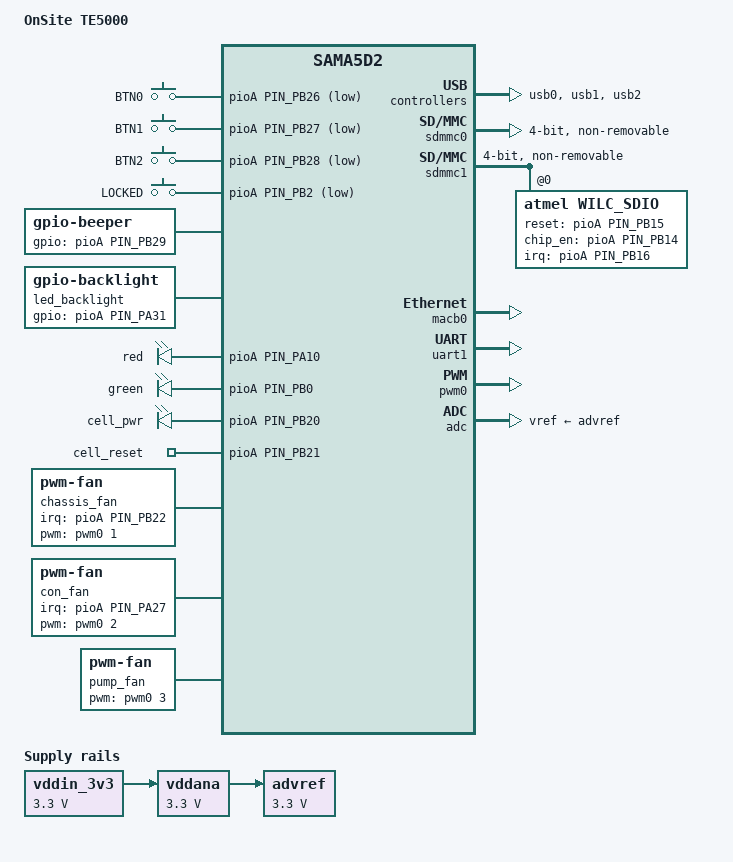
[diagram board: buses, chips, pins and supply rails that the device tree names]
// SPDX-License-Identifier: (GPL-2.0+ OR MIT)
/*
 * at91-onsite_te5000.dts - Device Tree file for OnSite TE5000 board
 *
 *  Copyright (c) 2017, Microchip Technology Inc.
 *                2016 Nicolas Ferre <nicolas.ferre@atmel.com>
 *                2017 Cristian Birsan <cristian.birsan@microchip.com>
 *                2017 Claudiu Beznea <claudiu.beznea@microchip.com>
 *                2020 Dennis Lambe Jr. <dlambe@innovative-electronics.com>
 */
/dts-v1/;
#include "at91-sama5d27_som1.dtsi"
#include <dt-bindings/mfd/atmel-flexcom.h>
#include <dt-bindings/gpio/gpio.h>
#include <dt-bindings/pinctrl/at91.h>
#include <dt-bindings/input/linux-event-codes.h>
#include <dt-bindings/pwm/pwm.h>

/ {
	model = "OnSite TE5000";
	compatible = "atmel,onsite-te5000", "atmel,sama5d27-som1", "atmel,sama5d27", "atmel,sama5d2", "atmel,sama5";

	aliases {
		serial0 = &uart1;	/* DBGU */
	};

	chosen {
		stdout-path = "serial0:115200n8";
	};

	ahb {
		usb0: gadget@300000 {
			atmel,vbus-gpio = <&pioA PIN_PD20 GPIO_ACTIVE_HIGH>;
			pinctrl-names = "default";
			pinctrl-0 = <&pinctrl_usba_vbus>;
			status = "okay";
		};

		usb1: ohci@400000 {
			num-ports = <3>;
			/* Commented out because of conflict with input buttons */
			/* atmel,vbus-gpio = <0 /\* &pioA PIN_PD20 GPIO_ACTIVE_HIGH *\/ */
			/* 		   &pioA PIN_PA27 GPIO_ACTIVE_HIGH */
			/* 		   0 */
			/* 		  >; */
			pinctrl-names = "default";
			pinctrl-0 = <&pinctrl_usb_default>;
			status = "okay";
		};

		usb2: ehci@500000 {
			status = "okay";
		};

		sdmmc0: sdio-host@a0000000 {
			bus-width = <4>;
			pinctrl-names = "default";
			pinctrl-0 = <&pinctrl_sdmmc0_default>;
			non-removable;
			disable-wp;
			no-1-8-v;
			status = "okay";
		};

		sdmmc1: sdio-host@b0000000 {
			bus-width = <4>;
			pinctrl-names = "default";
			pinctrl-0 = <&pinctrl_sdmmc1_default>;
			non-removable;
			disable-wp;
			no-1-8-v;
			status = "okay";
			max-frequency = <500000>; /* Determined experimentally */
			wilc_sdio@0{
				compatible = "atmel,wilc_sdio";
				pinctrl-names = "default";
				pinctrl-0 = <&pinctrl_wilc_default>;
				gpio_reset = <&pioA PIN_PB15 GPIO_ACTIVE_HIGH>;
				gpio_chip_en = <&pioA PIN_PB14 GPIO_ACTIVE_HIGH>;
				gpio_irq = <&pioA PIN_PB16 GPIO_ACTIVE_HIGH>;
				status = "okay";
			};
		};

		apb {
			macb0: ethernet@f8008000 {
				status = "okay";
			};

			tcb0: timer@f800c000 {
				timer0: timer@0 {
					compatible = "atmel,tcb-timer";
					reg = <0>;
				};

				timer1: timer@1 {
					compatible = "atmel,tcb-timer";
					reg = <1>;
				};
			};

			uart1: serial@f8020000 {
				pinctrl-names = "default";
				pinctrl-0 = <&pinctrl_uart1_default>;
				atmel,use-dma-rx;
				atmel,use-dma-tx;
				status = "okay";
			};

			pwm0: pwm@f802c000 {
				pinctrl-names = "default";
				pinctrl-0 = <&pinctrl_pwm0_default>;
				status = "okay";
			};

			shdwc@f8048010 {
				atmel,shdwc-debouncer = <976>;
				atmel,wakeup-rtc-timer;

				input@0 {
					reg = <0>;
					atmel,wakeup-type = "low";
				};
			};

			watchdog@f8048040 {
				status = "okay";
			};

			flx3: flexcom@fc014000 {
				atmel,flexcom-mode = <ATMEL_FLEXCOM_MODE_SPI>;
				status = "disabled";

				uart7: serial@200 {
					compatible = "atmel,at91sam9260-usart";
					reg = <0x200 0x200>;
					interrupts = <22 IRQ_TYPE_LEVEL_HIGH 7>;
					clocks = <&pmc PMC_TYPE_PERIPHERAL 22>;
					clock-names = "usart";
					pinctrl-names = "default";
					pinctrl-0 = <&pinctrl_flx3_default>;
					atmel,fifo-size = <32>;
					status = "disabled"; /* Conflict with isc. */
				};
			};

			adc: adc@fc030000 {
				vddana-supply = <&vddana>;
				vref-supply = <&advref>;
				pinctrl-names = "default";
				pinctrl-0 = <&pinctrl_an_default>;
				status = "okay";
			};

			pinctrl@fc038000 {
				pinctrl_flx3_default: flx3_default {
					pinmux = <PIN_PC20__FLEXCOM3_IO0>,
						 <PIN_PC19__FLEXCOM3_IO1>,
						 <PIN_PC21__FLEXCOM3_IO3>,
						 <PIN_PC22__FLEXCOM3_IO4>;
					bias-disable;
				};

				pinctrl_an_default: an_default {
					pinmux = <PIN_PD23__GPIO>,
						 <PIN_PD24__GPIO>;
					bias-disable;
				};

				pinctrl_key_gpio_default: key_gpio_default {
					pinmux = <PIN_PB26__GPIO>,
						 <PIN_PB27__GPIO>,
						 <PIN_PB28__GPIO>;
					bias-pull-up;
				};

				pinctrl_lock_feedback_default: lock_feedback_default {
					pinmux = <PIN_PB2__GPIO>;
					bias-disable;
				};

				pinctrl_beeper_gpio_default: beeper_gpio_default {
					pinmux = <PIN_PB29__GPIO>;
					bias-pull-up;
				};

				pinctrl_backlight_gpio_default: backlight_gpio_default {
					pinmux = <PIN_PA31__GPIO>;
					output-high;
				};

				pinctrl_led_gpio_default: led_gpio_default {
					pinmux = <PIN_PA10__GPIO>,
						 <PIN_PB0__GPIO>;
					bias-pull-up;
				};

				pinctrl_con_tach_default: con_tach_default {
					pinmux = <PIN_PA27__GPIO>;
					bias-pull-up;
				};

				pinctrl_chassis_tach_default: chassis_tach_default {
					pinmux = <PIN_PB22__GPIO>;
					bias-pull-up;
				};

				pinctrl_cell_gpio_default: cell_gpio_default {
					pinmux = <PIN_PB20__GPIO>,
						 <PIN_PB21__GPIO>;
					output-high;
				};

				pinctrl_sdmmc0_default: sdmmc0_default {
					cmd_data {
						pinmux = <PIN_PA1__SDMMC0_CMD>,
							 <PIN_PA2__SDMMC0_DAT0>,
							 <PIN_PA3__SDMMC0_DAT1>,
							 <PIN_PA4__SDMMC0_DAT2>,
							 <PIN_PA5__SDMMC0_DAT3>;
						bias-disable;
					};

					ck_cd_vddsel {
						pinmux = <PIN_PA0__SDMMC0_CK>;
						bias-disable;
					};
				};

				pinctrl_sdmmc1_default: sdmmc1_default {
					cmd_data {
						pinmux = <PIN_PA28__SDMMC1_CMD>,
							 <PIN_PA18__SDMMC1_DAT0>,
							 <PIN_PA19__SDMMC1_DAT1>,
							 <PIN_PA20__SDMMC1_DAT2>,
							 <PIN_PA21__SDMMC1_DAT3>;
						bias-disable;
					};

					conf-ck_cd {
						pinmux = <PIN_PA22__SDMMC1_CK>;
						bias-disable;
					};
				};

				pinctrl_wilc_default: wilc_default {
					outputs {
						pinmux = <PIN_PB15__GPIO>,
							 <PIN_PB14__GPIO>;
						output-low;
					};
					inputs {
						pinmux = <PIN_PB16__GPIO>;
						bias-disable;
					};
				};

				pinctrl_uart1_default: uart1_default {
					pinmux = <PIN_PD2__URXD1>,
						 <PIN_PD3__UTXD1>;
					bias-disable;
				};

				pinctrl_pwm0_default: pwm0_default {
					pinmux = <PIN_PB1__PWML1>,
						 <PIN_PB6__PWML2>,
						 <PIN_PB8__PWML3>;
					bias-disable;
				};

				pinctrl_usb_default: usb_default {
					pinmux = <PIN_PD19__GPIO>;
					bias-disable;
				};

				pinctrl_usba_vbus: usba_vbus {
					pinmux = <PIN_PD20__GPIO>;
					bias-disable;
				};
			};
		};
	};

	panel_buttons {
		compatible = "gpio-keys";

		pinctrl-names = "default";
		pinctrl-0 = <&pinctrl_key_gpio_default>;

		btn0 {
			label = "BTN0";
			gpios = <&pioA PIN_PB26 GPIO_ACTIVE_LOW>;
			linux,code = <BTN_0>;
			wakeup-source;
		};
		btn1 {
			label = "BTN1";
			gpios = <&pioA PIN_PB27 GPIO_ACTIVE_LOW>;
			linux,code = <BTN_1>;
			wakeup-source;
		};
		btn2 {
			label = "BTN2";
			gpios = <&pioA PIN_PB28 GPIO_ACTIVE_LOW>;
			linux,code = <BTN_2>;
			wakeup-source;
		};
	};

	lock_feedback {
		compatible = "gpio-keys";
		pinctrl-names = "default";
		pinctrl-0 = <&pinctrl_lock_feedback_default>;

		locked {
			label = "LOCKED";
			gpios = <&pioA PIN_PB2 GPIO_ACTIVE_LOW>;
			debounce-interval = <200>;
			linux,code = <BTN_3>;
		};
	};

	beeper {
		compatible = "gpio-beeper";
		pinctrl-names = "default";
		pinctrl-0 = <&pinctrl_beeper_gpio_default>;
		gpios = <&pioA PIN_PB29 GPIO_ACTIVE_HIGH>;
		status = "okay";
	};

        led_backlight {
                compatible = "gpio-backlight";
		pinctrl-names = "default";
		pinctrl-0 = <&pinctrl_backlight_gpio_default>;
                gpios = <&pioA PIN_PA31 GPIO_ACTIVE_HIGH>;
                default-on;
        };

	leds {
		compatible = "gpio-leds";
		pinctrl-names = "default";
		pinctrl-0 = <&pinctrl_led_gpio_default>;
		status = "okay"; /* Conflict with pwm0. */

		red {
			label = "red";
			gpios = <&pioA PIN_PA10 GPIO_ACTIVE_HIGH>;
		};

		green {
			label = "green";
			gpios = <&pioA PIN_PB0 GPIO_ACTIVE_HIGH>;
			linux,default-trigger = "heartbeat";
		};
	};

	cell {
		/* Not actually connected to LEDs, but there isn't a
		 * generic kernel-mode GPIO output driver */
		compatible = "gpio-leds";
		pinctrl-names = "default";
		pinctrl-0 = <&pinctrl_cell_gpio_default>;
		status = "okay";

		cell_pwr {
			label = "cell_pwr";
			gpios = <&pioA PIN_PB20 GPIO_ACTIVE_HIGH>;
			default-state = "on";
		};

		cell_reset {
			label = "cell_reset";
			gpios = <&pioA PIN_PB21 GPIO_ACTIVE_HIGH>;
			default-state = "off";
		};
	};

	chassis_fan {
		compatible = "pwm-fan";
		pwms = <&pwm0 1 40000 PWM_POLARITY_INVERTED>;
		pwm-value = <0>;

		interrupt-parent = <&pioA>;
		interrupts = <PIN_PB22 IRQ_TYPE_EDGE_RISING>;
		pulses-per-revolution = <2>;
		pinctrl-names = "default";
		pinctrl-0 = <&pinctrl_chassis_tach_default>;
	};

	con_fan {
		compatible = "pwm-fan";
		pwms = <&pwm0 2 40000 PWM_POLARITY_INVERTED>;
		pwm-value = <0>;

		interrupt-parent = <&pioA>;
		interrupts = <PIN_PA27 IRQ_TYPE_EDGE_RISING>;
		pulses-per-revolution = <2>;
		pinctrl-names = "default";
		pinctrl-0 = <&pinctrl_con_tach_default>;
	};

	pump_fan {
		compatible = "pwm-fan";
		pwms = <&pwm0 3 40000 PWM_POLARITY_INVERTED>;
		pwm-value = <0>;
	};

	vddin_3v3: fixed-regulator-vddin_3v3 {
		compatible = "regulator-fixed";

		regulator-name = "VDDIN_3V3";
		regulator-min-microvolt = <3300000>;
		regulator-max-microvolt = <3300000>;
		regulator-always-on;
		regulator-boot-on;
		status = "okay";
	};

	vddana: fixed-regulator-vddana {
		compatible = "regulator-fixed";

		regulator-name = "VDDANA";
		regulator-min-microvolt = <3300000>;
		regulator-max-microvolt = <3300000>;
		regulator-always-on;
		regulator-boot-on;
		vin-supply = <&vddin_3v3>;
		status = "okay";
	};

	advref: fixed-regulator-advref {
		compatible = "regulator-fixed";

		regulator-name = "advref";
		regulator-min-microvolt = <3300000>;
		regulator-max-microvolt = <3300000>;
		regulator-always-on;
		regulator-boot-on;
		vin-supply = <&vddana>;
		status = "okay";
	};
};
